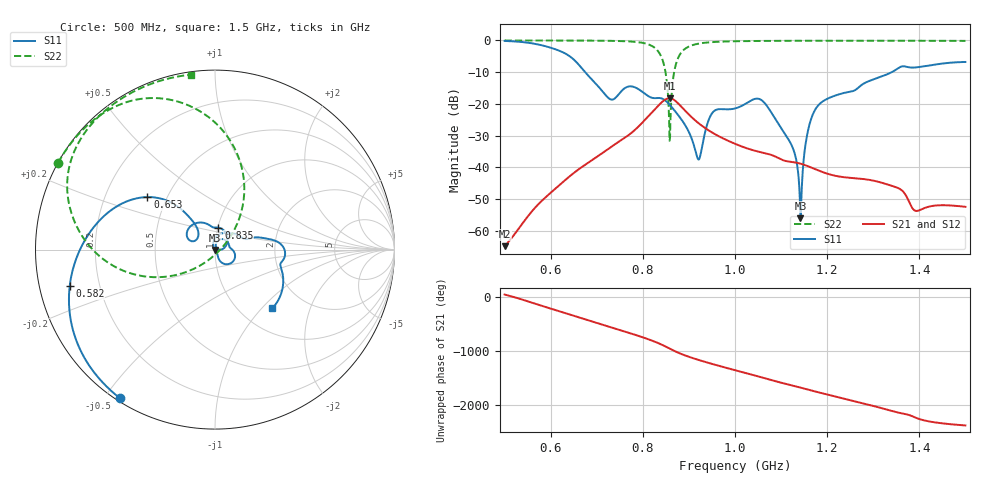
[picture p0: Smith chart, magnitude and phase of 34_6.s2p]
! TOUCHSTONE file generated by CST MICROWAVE STUDIO
! Date and time: Fri Oct  2 18:59:40 2020
! Project name: Scenario_1_Free_Space_out_of_line.cst
! Parameters = {Lambda=346.42; Step_1=17.321; dy1=-224.613; dx1=1039; L_HA=400; MT=2.54; Rad_Dielectric=30; Rad_Lower=7.3; Rad_Upper=30; a_HA=580; a_WG=246; b_HA=500; b_WG=121; c_HA=0; c_WG=187; d_feed=85; h_feed=15; h_lower=18; h_upper=40}
! Header version: 2018
! Port assignment regex: !\s*Touchstone port\s*([0-9]+)\s*=\s*(CST MWS port|CST DS port)\s*([0-9]+|Zmin|Zmax)\s*\(\"(.*)\"\)(\s*mode\s*([0-9]+))?.*
! Touchstone port assignment:
! Touchstone port 1 = CST MWS port 1 ("")
! Touchstone port 2 = CST MWS port 2 ("")
# GHz S DB R 50
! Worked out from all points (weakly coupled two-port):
!   1003 points, 500 MHz to 1.5 GHz, reference 50 ohm
!   highest |S21| = -18.24 dB at 858 MHz (marker M1); lowest = -64.9 dB at 500 MHz (marker M2)
!   lowest |S11| = -56.2 dB at 1.142 GHz (marker M3), VSWR 1.00, Z = 49.9 - j0.133 ohm
!   |S11| at or under -10 dB: 674.8 MHz to 1.34 GHz (665.5 MHz wide, 66.1 % of centre)
!   |S22| runs from -31.7 to 0.0 dB; largest |S21 - S12| = 3.3e-07
!   S11 on the Smith chart (normalised r, x): 500 MHz: 0.01, -0.55; 582 MHz: 0.09, -0.12; 653 MHz: 0.39, +0.30; 835 MHz: 1.01, +0.25; 1.5 GHz: 1.39, -1.15
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0.5  -0.15 -122.6  -64.92 42.9  -64.92 42.9  -0.01 151.1
0.582  -1.58 -166.0  -50.44 -169.9  -50.44 -169.9  -0.02 145.4
0.653  -6.43 142.1  -41.51 2.3  -41.51 2.3  -0.04 139.6
0.667  -8.67 133.6  -40.02 -35.9  -40.02 -35.9  -0.04 138.3
0.73  -18.61 144.2  -33.71 157.2  -33.71 157.2  -0.13 130.7
0.773  -14.48 138.7  -29.42 43.0  -29.42 43.0  -0.33 122.1
0.834  -18.16 82.7  -20.50 -140.1  -20.50 -140.1  -3.58 86.1
0.835  -18.16 81.3  -20.35 -143.8  -20.35 -143.8  -3.79 84.7
0.847  -18.78 61.8  -18.79 169.1  -18.79 169.1  -8.40 64.5
0.858  -20.28 44.3  -18.24 121.6  -18.24 121.6  -31.67 -8.4
0.877  -23.62 20.3  -19.92 43.3  -19.92 43.3  -5.37 -168.2
0.921  -37.59 38.9  -26.13 -90.5  -26.13 -90.5  -1.01 157.7
0.951  -22.82 54.2  -29.12 -165.8  -29.12 -165.8  -0.52 148.7
1  -21.46 7.0  -32.61 79.3  -32.61 79.3  -0.26 140.2
1.067  -20.23 -55.7  -35.65 -74.7  -35.65 -74.7  -0.15 132.7
1.125  -33.79 -59.5  -38.37 155.5  -38.37 155.5  -0.11 127.5
1.142  -56.16 -121.0  -38.88 116.8  -38.88 116.8  -0.10 126.1
1.154  -31.92 112.9  -39.45 89.3  -39.45 89.3  -0.10 125.2
1.167  -24.03 90.3  -40.20 60.0  -40.20 60.0  -0.10 124.1
1.334  -10.44 11.6  -45.59 58.6  -45.59 58.6  -0.09 111.4
1.392  -8.52 -13.5  -53.78 -81.5  -53.78 -81.5  -0.10 106.9
1.5  -6.80 -45.7  -52.51 134.4  -52.51 134.4  -0.14 97.9
